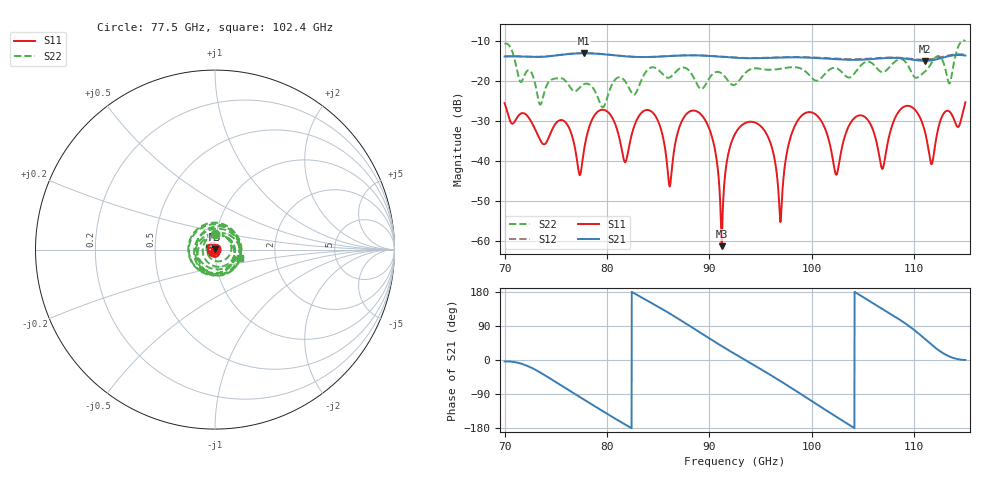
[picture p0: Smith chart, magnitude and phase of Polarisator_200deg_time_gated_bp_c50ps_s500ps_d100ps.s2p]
# Hz S RI R 1.000000
! Metas.Vna.Tools, 2.4.7898.19887
! Metas.Vna.Data, 2.4.7898.19873
! Created: UTC 2021.09.30 14:30:59
! FREQ  re:S1,1  im:S1,1  re:S2,1  im:S2,1  re:S1,2  im:S1,2  re:S2,2  im:S2,2
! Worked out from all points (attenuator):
!   2251 points, 70 GHz to 115 GHz, reference 1 ohm
!   highest |S21| = -12.96 dB at 77.74 GHz (marker M1); lowest = -14.9 dB at 111 GHz (marker M2)
!   lowest |S11| = -61.2 dB at 91.2 GHz (marker M3), VSWR 1.00, Z = 1 + j0.00171 ohm
!   |S11| at or under -10 dB: start of sweep to end of sweep
!   |S22| runs from -26.5 to -9.8 dB; largest |S21 - S12| = 0.042
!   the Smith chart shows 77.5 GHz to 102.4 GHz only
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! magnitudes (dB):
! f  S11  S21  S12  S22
! 70 GHz  -25.4  -13.8  -13.7  -10.7
! 73.46 GHz  -34.6  -13.9  -13.8  -25.8
! 75.78 GHz  -29.9  -13.3  -13.3  -19.5
! 77.5 GHz  -41.8  -13.0  -12.9  -21.1
! 77.74 GHz  -37.5  -13.0  -12.9  -20.7
! 79.32 GHz  -27.2  -13.1  -13.1  -25.5
! 81.76 GHz  -40.2  -13.7  -13.7  -19.9
! 85 GHz  -30.0  -13.8  -13.8  -17.1
! 86.12 GHz  -46.3  -13.7  -13.6  -19.0
! 87.42 GHz  -29.4  -13.5  -13.5  -16.5
! 89.44 GHz  -29.1  -13.6  -13.5  -21.5
! 91.2 GHz  -61.2  -13.9  -13.8  -18.0
! 92.5 GHz  -33.2  -14.1  -14.0  -20.8
! 95.44 GHz  -32.6  -14.2  -14.1  -17.1
! 96.94 GHz  -55.2  -14.0  -14.0  -16.9
! 98.04 GHz  -33.1  -14.0  -13.9  -16.4
! 100 GHz  -27.8  -14.1  -14.0  -19.1
! 102.4 GHz  -43.4  -14.5  -14.3  -16.7
! 104.3 GHz  -28.8  -14.6  -14.4  -17.4
! 107.5 GHz  -34.3  -14.1  -14.0  -16.7
! 111 GHz  -32.5  -14.9  -14.6  -17.6
! 115 GHz  -25.3  -13.5  -13.3  -9.9
